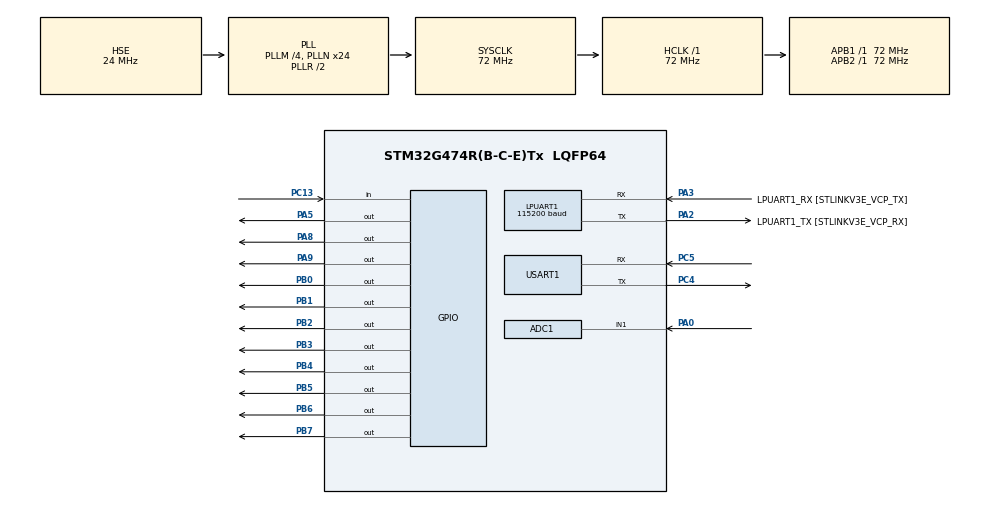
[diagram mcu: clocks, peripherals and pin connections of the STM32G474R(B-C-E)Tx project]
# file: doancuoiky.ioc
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ADC1.Channel-3\#ChannelRegularConversion=ADC_CHANNEL_1
ADC1.EnableInjectedConversion=DISABLE
ADC1.NbrOfConversionFlag=1
ADC1.OffsetNumber-3\#ChannelRegularConversion=ADC_OFFSET_NONE
ADC1.Rank-3\#ChannelRegularConversion=1
ADC1.SamplingTime-3\#ChannelRegularConversion=ADC_SAMPLETIME_2CYCLES_5
ADC1.master=1
LPUART1.BaudRate=115200
LPUART1.WordLength=UART_WORDLENGTH_8B
Mcu.Family=STM32G4
Mcu.Name=STM32G474R(B-C-E)Tx
Mcu.Package=LQFP64
NVIC.ADC1_2_IRQn=true\:0\:0\:false\:false\:true\:true\:true\:true
NVIC.FLASH_IRQn=true\:0\:0\:false\:false\:true\:true\:true\:true
NVIC.FPU_IRQn=true\:0\:0\:false\:false\:true\:true\:false\:true
NVIC.LPUART1_IRQn=true\:0\:0\:false\:false\:true\:true\:true\:true
NVIC.PVD_PVM_IRQn=true\:0\:0\:false\:false\:true\:true\:true\:true
NVIC.PriorityGroup=NVIC_PRIORITYGROUP_4
NVIC.RCC_IRQn=true\:0\:0\:false\:false\:true\:true\:false\:true
NVIC.TIM1_UP_TIM16_IRQn=true\:0\:0\:false\:false\:true\:true\:true\:true
NVIC.USART1_IRQn=true\:0\:0\:false\:false\:true\:true\:true\:true
PA0.Mode=IN1-Single-Ended
PA0.Signal=ADC1_IN1
PA13.GPIO_Label=T_SWDIO
PA13.Mode=Serial_Wire
PA13.Signal=SYS_JTMS-SWDIO
PA14.GPIO_Label=T_SWCLK
PA14.Mode=Serial_Wire
PA14.Signal=SYS_JTCK-SWCLK
PA2.GPIO_Label=LPUART1_TX [STLINKV3E_VCP_RX]
PA2.Mode=Asynchronous
PA2.Signal=LPUART1_TX
PA3.GPIO_Label=LPUART1_RX [STLINKV3E_VCP_TX]
PA3.Mode=Asynchronous
PA3.Signal=LPUART1_RX
PA5.PinState=GPIO_PIN_RESET
PA5.Signal=GPIO_Output
PA8.PinState=GPIO_PIN_RESET
PA8.Signal=GPIO_Output
PA9.PinState=GPIO_PIN_RESET
PA9.Signal=GPIO_Output
PB0.PinState=GPIO_PIN_RESET
PB0.Signal=GPIO_Output
PB1.PinState=GPIO_PIN_RESET
PB1.Signal=GPIO_Output
PB2.PinState=GPIO_PIN_RESET
PB2.Signal=GPIO_Output
PB3.PinState=GPIO_PIN_RESET
PB3.Signal=GPIO_Output
PB4.PinState=GPIO_PIN_RESET
PB4.Signal=GPIO_Output
PB5.PinState=GPIO_PIN_RESET
PB5.Signal=GPIO_Output
PB6.PinState=GPIO_PIN_RESET
PB6.Signal=GPIO_Output
PB7.PinState=GPIO_PIN_RESET
PB7.Signal=GPIO_Output
PC13.GPIO_Mode=GPIO_MODE_INPUT
PC13.Signal=GPIO_Input
PC14-OSC32_IN.Signal=RCC_OSC32_IN
PC15-OSC32_OUT.Signal=RCC_OSC32_OUT
PC4.Mode=Asynchronous
PC4.Signal=USART1_TX
PC5.Mode=Asynchronous
PC5.Signal=USART1_RX
PF0-OSC_IN.Mode=HSE-External-Oscillator
PF0-OSC_IN.Signal=RCC_OSC_IN
PF1-OSC_OUT.Mode=HSE-External-Oscillator
PF1-OSC_OUT.Signal=RCC_OSC_OUT
ProjectManager.HeapSize=0x200
ProjectManager.StackSize=0x400
ProjectManager.TargetToolchain=STM32CubeIDE
RCC.ADC12Freq_Value=72000000
RCC.ADC345Freq_Value=72000000
RCC.AHBFreq_Value=72000000
RCC.APB1Freq_Value=72000000
RCC.APB1TimFreq_Value=72000000
RCC.APB2Freq_Value=72000000
RCC.APB2TimFreq_Value=72000000
RCC.CortexFreq_Value=72000000
RCC.EXTERNAL_CLOCK_VALUE=12288000
RCC.HCLKFreq_Value=72000000
RCC.HSE_VALUE=24000000
RCC.HSI48_VALUE=48000000
RCC.HSI_VALUE=16000000
RCC.LSE_VALUE=32768
RCC.PLLM=RCC_PLLM_DIV4
RCC.PLLN=24
RCC.PLLSourceVirtual=RCC_PLLSOURCE_HSE
RCC.RTCClockSelection=RCC_RTCCLKSOURCE_LSE
RCC.SYSCLKFreq_VALUE=72000000
RCC.SYSCLKSource=RCC_SYSCLKSOURCE_PLLCLK
RCC.USBFreq_Value=72000000
RCC.VCOOutputFreq_Value=144000000
TIM1.AutoReloadPreload=TIM_AUTORELOAD_PRELOAD_ENABLE
TIM1.Prescaler=9999
USART1.VirtualMode-Asynchronous=VM_ASYNC
VP_SYS_VS_DBSignals.Mode=DisableDeadBatterySignals
VP_TIM1_VS_ClockSourceINT.Mode=Internal
board=NUCLEO-G474RE

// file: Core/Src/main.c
/* USER CODE BEGIN Header */
/**
  ******************************************************************************
  * @file           : main.c
  * @brief          : Main program body
  ******************************************************************************
  * @attention
  *
  * Copyright (c) 2024 STMicroelectronics.
  * All rights reserved.
  *
  * This software is licensed under terms that can be found in the LICENSE file
  * in the root directory of this software component.
  * If no LICENSE file comes with this software, it is provided AS-IS.
  *
  ******************************************************************************
  */
/* USER CODE END Header */
#include "main.h"

/* USER CODE BEGIN Includes */
#include "stdio.h"
/* USER CODE END Includes */

ADC_HandleTypeDef hadc1;

UART_HandleTypeDef hlpuart1;
UART_HandleTypeDef huart1;

TIM_HandleTypeDef htim1;

void SystemClock_Config(void);
static void MX_GPIO_Init(void);
static void MX_LPUART1_UART_Init(void);
static void MX_ADC1_Init(void);
static void MX_USART1_UART_Init(void);
static void MX_TIM1_Init(void);

/* USER CODE BEGIN 0 */
#define LED_PIN_1 GPIO_PIN_0
#define LED_PIN_2 GPIO_PIN_1
#define LED_PIN_3 GPIO_PIN_2
#define LED_PIN_4 GPIO_PIN_3
#define LED_PIN_5 GPIO_PIN_4
#define LED_PIN_6 GPIO_PIN_5
#define LED_PIN_7 GPIO_PIN_6
#define LED_PIN_8 GPIO_PIN_7
/* USER CODE END 0 */

int main(void)
{

  /* MCU Configuration--------------------------------------------------------*/

  /* Reset of all peripherals, Initializes the Flash interface and the Systick. */
  HAL_Init();

  /* Configure the system clock */
  SystemClock_Config();

  /* Initialize all configured peripherals */
  MX_GPIO_Init();
  MX_LPUART1_UART_Init();
  MX_ADC1_Init();
  MX_USART1_UART_Init();
  MX_TIM1_Init();

  /* Infinite loop */
  /* USER CODE BEGIN WHILE */
  uint32_t adc_value = 0;
  float dienap = 0.0;
  uint8_t nhietdo = 0;
  uint8_t st[20] ;
  uint8_t st1[20] ;
  uint8_t data;

  uint8_t dem = 0;
  uint16_t led_pins[8] = {
      LED_PIN_1, LED_PIN_2, LED_PIN_3, LED_PIN_4,
      LED_PIN_5, LED_PIN_6, LED_PIN_7, LED_PIN_8
  };

  float Read_Temperature(void)
  {
      uint32_t sum = 0;
      const int NUM_SAMPLES = 10;

      for (int i = 0; i < NUM_SAMPLES; ++i)
      {
          HAL_ADC_Start(&hadc1);
          if (HAL_ADC_PollForConversion(&hadc1, 50) == HAL_OK)
          {
              sum += HAL_ADC_GetValue(&hadc1);
          }
          HAL_ADC_Stop(&hadc1);
          HAL_Delay(10);
      }

      adc_value = sum / NUM_SAMPLES;
      dienap = ((float)adc_value * 5.0) / 4095.0; // dổi giá trị ADC thành điện áp (V)
      return dienap * 100.0;
  }

  while (1)
  {
    /* USER CODE END WHILE */

    /* USER CODE BEGIN 3 */

	if( HAL_GPIO_ReadPin(GPIOC, GPIO_PIN_13)==1){
		dem++;
		HAL_Delay(200);
	}

          nhietdo = Read_Temperature();

		  if (nhietdo >= 70.0)
		  {
			  HAL_GPIO_TogglePin(GPIOA, GPIO_PIN_9);
			  HAL_Delay(200);
		  }
		  else
		  {
			  HAL_GPIO_WritePin(GPIOA, GPIO_PIN_9, 0);
		  }

           // dùng uart để truyền lên giao diện

		  sprintf(st1,"%d-%d\n", nhietdo,dem);
	      HAL_UART_Transmit(&huart1, (uint8_t *)st1, strlen(st1),100);

	      if (HAL_UART_Receive(&huart1, &data, 1, 100) == HAL_OK)
	{
		if (data >= '1' && data <= '8')
		{

			HAL_GPIO_WritePin(GPIOB, led_pins[data - '1'], 1); // Bật LED tương ứng
		}
		else if (data >= 'a' && data <= 'h')
		{
			HAL_GPIO_WritePin(GPIOB, led_pins[data - 'a'], 0); // Tắt LED tương ứng
		}
		else if (data == 'T') //0.5s
		{
			__HAL_TIM_SET_AUTORELOAD(&htim1,3599);
			 HAL_TIM_Base_Start_IT(&htim1);

		}
		else if (data == 'U')//1s
		{
			__HAL_TIM_SET_AUTORELOAD(&htim1,7199);
			 HAL_TIM_Base_Start_IT(&htim1);

		}
		else if (data == 'V')//2s
		{
			__HAL_TIM_SET_AUTORELOAD(&htim1,14399);
			 HAL_TIM_Base_Start_IT(&htim1);

		}
		else if (data == 'r')
		{
			HAL_TIM_Base_Stop(&htim1);

			HAL_GPIO_WritePin(GPIOA, GPIO_PIN_8, GPIO_PIN_RESET);
		}

	}

  }

  /* USER CODE END 3 */
}
void HAL_TIM_PeriodElapsedCallback(TIM_HandleTypeDef *htim)
 {
	if(htim->Instance == TIM1)
  {
	HAL_GPIO_TogglePin(GPIOA, GPIO_PIN_8);
  }
 }
void SystemClock_Config(void)
{
  RCC_OscInitTypeDef RCC_OscInitStruct = {0};
  RCC_ClkInitTypeDef RCC_ClkInitStruct = {0};

  /** Configure the main internal regulator output voltage
  */
  HAL_PWREx_ControlVoltageScaling(PWR_REGULATOR_VOLTAGE_SCALE1);

  /** Initializes the RCC Oscillators according to the specified parameters
  * in the RCC_OscInitTypeDef structure.
  */
  RCC_OscInitStruct.OscillatorType = RCC_OSCILLATORTYPE_HSE;
  RCC_OscInitStruct.HSEState = RCC_HSE_ON;
  RCC_OscInitStruct.PLL.PLLState = RCC_PLL_ON;
  RCC_OscInitStruct.PLL.PLLSource = RCC_PLLSOURCE_HSE;
  RCC_OscInitStruct.PLL.PLLM = RCC_PLLM_DIV4;
  RCC_OscInitStruct.PLL.PLLN = 24;
  RCC_OscInitStruct.PLL.PLLP = RCC_PLLP_DIV2;
  RCC_OscInitStruct.PLL.PLLQ = RCC_PLLQ_DIV2;
  RCC_OscInitStruct.PLL.PLLR = RCC_PLLR_DIV2;
  if (HAL_RCC_OscConfig(&RCC_OscInitStruct) != HAL_OK)
  {
    Error_Handler();
  }

  /** Initializes the CPU, AHB and APB buses clocks
  */
  RCC_ClkInitStruct.ClockType = RCC_CLOCKTYPE_HCLK|RCC_CLOCKTYPE_SYSCLK
                              |RCC_CLOCKTYPE_PCLK1|RCC_CLOCKTYPE_PCLK2;
  RCC_ClkInitStruct.SYSCLKSource = RCC_SYSCLKSOURCE_PLLCLK;
  RCC_ClkInitStruct.AHBCLKDivider = RCC_SYSCLK_DIV1;
  RCC_ClkInitStruct.APB1CLKDivider = RCC_HCLK_DIV1;
  RCC_ClkInitStruct.APB2CLKDivider = RCC_HCLK_DIV1;

  if (HAL_RCC_ClockConfig(&RCC_ClkInitStruct, FLASH_LATENCY_2) != HAL_OK)
  {
    Error_Handler();
  }
}

static void MX_ADC1_Init(void)
{

  ADC_MultiModeTypeDef multimode = {0};
  ADC_ChannelConfTypeDef sConfig = {0};

  /** Common config
  */
  hadc1.Instance = ADC1;
  hadc1.Init.ClockPrescaler = ADC_CLOCK_SYNC_PCLK_DIV2;
  hadc1.Init.Resolution = ADC_RESOLUTION_12B;
  hadc1.Init.DataAlign = ADC_DATAALIGN_RIGHT;
  hadc1.Init.GainCompensation = 0;
  hadc1.Init.ScanConvMode = ADC_SCAN_DISABLE;
  hadc1.Init.EOCSelection = ADC_EOC_SINGLE_CONV;
  hadc1.Init.LowPowerAutoWait = DISABLE;
  hadc1.Init.ContinuousConvMode = DISABLE;
  hadc1.Init.NbrOfConversion = 1;
  hadc1.Init.DiscontinuousConvMode = DISABLE;
  hadc1.Init.ExternalTrigConv = ADC_SOFTWARE_START;
  hadc1.Init.ExternalTrigConvEdge = ADC_EXTERNALTRIGCONVEDGE_NONE;
  hadc1.Init.DMAContinuousRequests = DISABLE;
  hadc1.Init.Overrun = ADC_OVR_DATA_PRESERVED;
  hadc1.Init.OversamplingMode = DISABLE;
  if (HAL_ADC_Init(&hadc1) != HAL_OK)
  {
    Error_Handler();
  }

  /** Configure the ADC multi-mode
  */
  multimode.Mode = ADC_MODE_INDEPENDENT;
  if (HAL_ADCEx_MultiModeConfigChannel(&hadc1, &multimode) != HAL_OK)
  {
    Error_Handler();
  }

  /** Configure Regular Channel
  */
  sConfig.Channel = ADC_CHANNEL_1;
  sConfig.Rank = ADC_REGULAR_RANK_1;
  sConfig.SamplingTime = ADC_SAMPLETIME_2CYCLES_5;
  sConfig.SingleDiff = ADC_SINGLE_ENDED;
  sConfig.OffsetNumber = ADC_OFFSET_NONE;
  sConfig.Offset = 0;
  if (HAL_ADC_ConfigChannel(&hadc1, &sConfig) != HAL_OK)
  {
    Error_Handler();
  }

}

static void MX_LPUART1_UART_Init(void)
{

  hlpuart1.Instance = LPUART1;
  hlpuart1.Init.BaudRate = 115200;
  hlpuart1.Init.WordLength = UART_WORDLENGTH_8B;
  hlpuart1.Init.StopBits = UART_STOPBITS_1;
  hlpuart1.Init.Parity = UART_PARITY_NONE;
  hlpuart1.Init.Mode = UART_MODE_TX_RX;
  hlpuart1.Init.HwFlowCtl = UART_HWCONTROL_NONE;
  hlpuart1.Init.OneBitSampling = UART_ONE_BIT_SAMPLE_DISABLE;
  hlpuart1.Init.ClockPrescaler = UART_PRESCALER_DIV1;
  hlpuart1.AdvancedInit.AdvFeatureInit = UART_ADVFEATURE_NO_INIT;
  if (HAL_UART_Init(&hlpuart1) != HAL_OK)
  {
    Error_Handler();
  }
  if (HAL_UARTEx_SetTxFifoThreshold(&hlpuart1, UART_TXFIFO_THRESHOLD_1_8) != HAL_OK)
  {
    Error_Handler();
  }
  if (HAL_UARTEx_SetRxFifoThreshold(&hlpuart1, UART_RXFIFO_THRESHOLD_1_8) != HAL_OK)
  {
    Error_Handler();
  }
  if (HAL_UARTEx_DisableFifoMode(&hlpuart1) != HAL_OK)
  {
    Error_Handler();
  }

}

static void MX_USART1_UART_Init(void)
{

  huart1.Instance = USART1;
  huart1.Init.BaudRate = 115200;
  huart1.Init.WordLength = UART_WORDLENGTH_8B;
  huart1.Init.StopBits = UART_STOPBITS_1;
  huart1.Init.Parity = UART_PARITY_NONE;
  huart1.Init.Mode = UART_MODE_TX_RX;
  huart1.Init.HwFlowCtl = UART_HWCONTROL_NONE;
  huart1.Init.OverSampling = UART_OVERSAMPLING_16;
  huart1.Init.OneBitSampling = UART_ONE_BIT_SAMPLE_DISABLE;
  huart1.Init.ClockPrescaler = UART_PRESCALER_DIV1;
  huart1.AdvancedInit.AdvFeatureInit = UART_ADVFEATURE_NO_INIT;
  if (HAL_UART_Init(&huart1) != HAL_OK)
  {
    Error_Handler();
  }
  if (HAL_UARTEx_SetTxFifoThreshold(&huart1, UART_TXFIFO_THRESHOLD_1_8) != HAL_OK)
  {
    Error_Handler();
  }
  if (HAL_UARTEx_SetRxFifoThreshold(&huart1, UART_RXFIFO_THRESHOLD_1_8) != HAL_OK)
  {
    Error_Handler();
  }
  if (HAL_UARTEx_DisableFifoMode(&huart1) != HAL_OK)
  {
    Error_Handler();
  }

}

static void MX_TIM1_Init(void)
{

  TIM_ClockConfigTypeDef sClockSourceConfig = {0};
  TIM_MasterConfigTypeDef sMasterConfig = {0};

  htim1.Instance = TIM1;
  htim1.Init.Prescaler = 9999;
  htim1.Init.CounterMode = TIM_COUNTERMODE_UP;
  htim1.Init.Period = 3599;
  htim1.Init.ClockDivision = TIM_CLOCKDIVISION_DIV1;
  htim1.Init.RepetitionCounter = 0;
  htim1.Init.AutoReloadPreload = TIM_AUTORELOAD_PRELOAD_ENABLE;
  if (HAL_TIM_Base_Init(&htim1) != HAL_OK)
  {
    Error_Handler();
  }
  sClockSourceConfig.ClockSource = TIM_CLOCKSOURCE_INTERNAL;
  if (HAL_TIM_ConfigClockSource(&htim1, &sClockSourceConfig) != HAL_OK)
  {
    Error_Handler();
  }
  sMasterConfig.MasterOutputTrigger = TIM_TRGO_RESET;
  sMasterConfig.MasterOutputTrigger2 = TIM_TRGO2_RESET;
  sMasterConfig.MasterSlaveMode = TIM_MASTERSLAVEMODE_DISABLE;
  if (HAL_TIMEx_MasterConfigSynchronization(&htim1, &sMasterConfig) != HAL_OK)
  {
    Error_Handler();
  }

}

static void MX_GPIO_Init(void)
{
  GPIO_InitTypeDef GPIO_InitStruct = {0};

  /* GPIO Ports Clock Enable */
  __HAL_RCC_GPIOC_CLK_ENABLE();
  __HAL_RCC_GPIOF_CLK_ENABLE();
  __HAL_RCC_GPIOA_CLK_ENABLE();
  __HAL_RCC_GPIOB_CLK_ENABLE();

  /*Configure GPIO pin Output Level */
  HAL_GPIO_WritePin(GPIOA, GPIO_PIN_5|GPIO_PIN_8|GPIO_PIN_9, GPIO_PIN_RESET);

  /*Configure GPIO pin Output Level */
  HAL_GPIO_WritePin(GPIOB, GPIO_PIN_0|GPIO_PIN_1|GPIO_PIN_2|GPIO_PIN_3
                          |GPIO_PIN_4|GPIO_PIN_5|GPIO_PIN_6|GPIO_PIN_7, GPIO_PIN_RESET);

  /*Configure GPIO pin : PC13 */
  GPIO_InitStruct.Pin = GPIO_PIN_13;
  GPIO_InitStruct.Mode = GPIO_MODE_INPUT;
  GPIO_InitStruct.Pull = GPIO_NOPULL;
  HAL_GPIO_Init(GPIOC, &GPIO_InitStruct);

  /*Configure GPIO pins : PA5 PA8 PA9 */
  GPIO_InitStruct.Pin = GPIO_PIN_5|GPIO_PIN_8|GPIO_PIN_9;
  GPIO_InitStruct.Mode = GPIO_MODE_OUTPUT_PP;
  GPIO_InitStruct.Pull = GPIO_NOPULL;
  GPIO_InitStruct.Speed = GPIO_SPEED_FREQ_LOW;
  HAL_GPIO_Init(GPIOA, &GPIO_InitStruct);

  /*Configure GPIO pins : PB0 PB1 PB2 PB3
                           PB4 PB5 PB6 PB7 */
  GPIO_InitStruct.Pin = GPIO_PIN_0|GPIO_PIN_1|GPIO_PIN_2|GPIO_PIN_3
                          |GPIO_PIN_4|GPIO_PIN_5|GPIO_PIN_6|GPIO_PIN_7;
  GPIO_InitStruct.Mode = GPIO_MODE_OUTPUT_PP;
  GPIO_InitStruct.Pull = GPIO_NOPULL;
  GPIO_InitStruct.Speed = GPIO_SPEED_FREQ_LOW;
  HAL_GPIO_Init(GPIOB, &GPIO_InitStruct);

}

void Error_Handler(void)
{
  __disable_irq();
  while (1)
  {
  }
}
